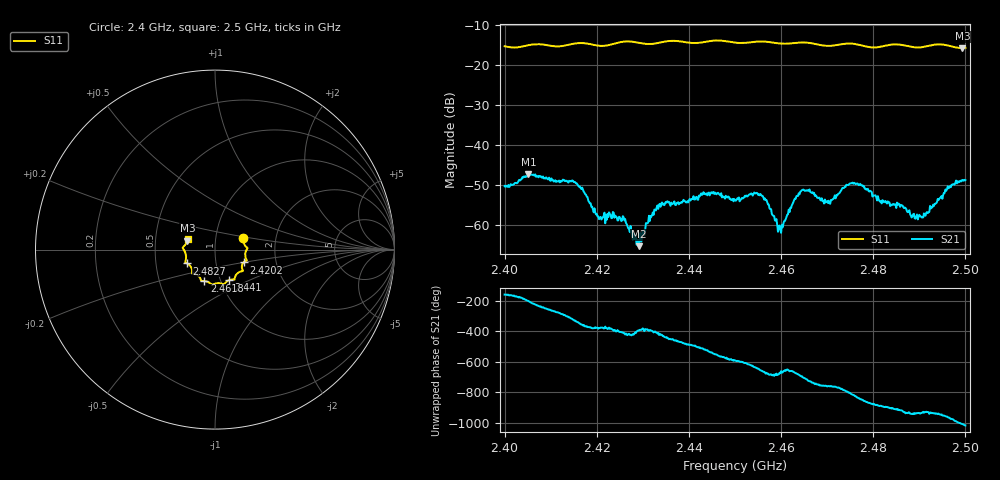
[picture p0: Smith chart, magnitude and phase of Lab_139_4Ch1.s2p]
# Hz S RI R 50
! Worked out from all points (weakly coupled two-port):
!   601 points, 2.4 GHz to 2.5 GHz, reference 50 ohm
!   highest |S21| = -47.27 dB at 2.4052 GHz (marker M1); lowest = -65.2 dB at 2.4292 GHz (marker M2)
!   lowest |S11| = -15.8 dB at 2.4993 GHz (marker M3), VSWR 1.39, Z = 36.5 + j3.8 ohm
!   |S11| at or under -10 dB: start of sweep to end of sweep
!   S12 and S22 are empty: the file has one direction only
!   S11 on the Smith chart (normalised r, x): 2.4 GHz: 1.36, +0.18; 2.4202 GHz: 1.36, -0.20; 2.441 GHz: 1.10, -0.39; 2.4618 GHz: 0.84, -0.30; 2.4827 GHz: 0.72, -0.11; 2.5 GHz: 0.73, +0.09
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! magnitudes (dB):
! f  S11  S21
! 2.4 GHz  -15.4  -50.2
! 2.4052 GHz  -15.1  -47.3
! 2.4167 GHz  -14.5  -51.0
! 2.4202 GHz  -15.2  -57.8
! 2.4257 GHz  -14.2  -57.7
! 2.4292 GHz  -14.5  -65.2
! 2.4333 GHz  -14.5  -55.9
! 2.441 GHz  -14.6  -52.7
! 2.4453 GHz  -14.0  -51.7
! 2.45 GHz  -14.4  -53.8
! 2.4557 GHz  -14.2  -52.4
! 2.4598 GHz  -14.7  -61.0
! 2.4618 GHz  -14.6  -56.7
! 2.4643 GHz  -14.4  -51.5
! 2.4667 GHz  -14.6  -51.9
! 2.4702 GHz  -15.3  -54.4
! 2.476 GHz  -14.8  -49.5
! 2.4827 GHz  -15.2  -53.9
! 2.4833 GHz  -15.0  -54.3
! 2.4908 GHz  -15.5  -58.0
! 2.4993 GHz  -15.8  -48.7
! 2.5 GHz  -15.7  -48.7
